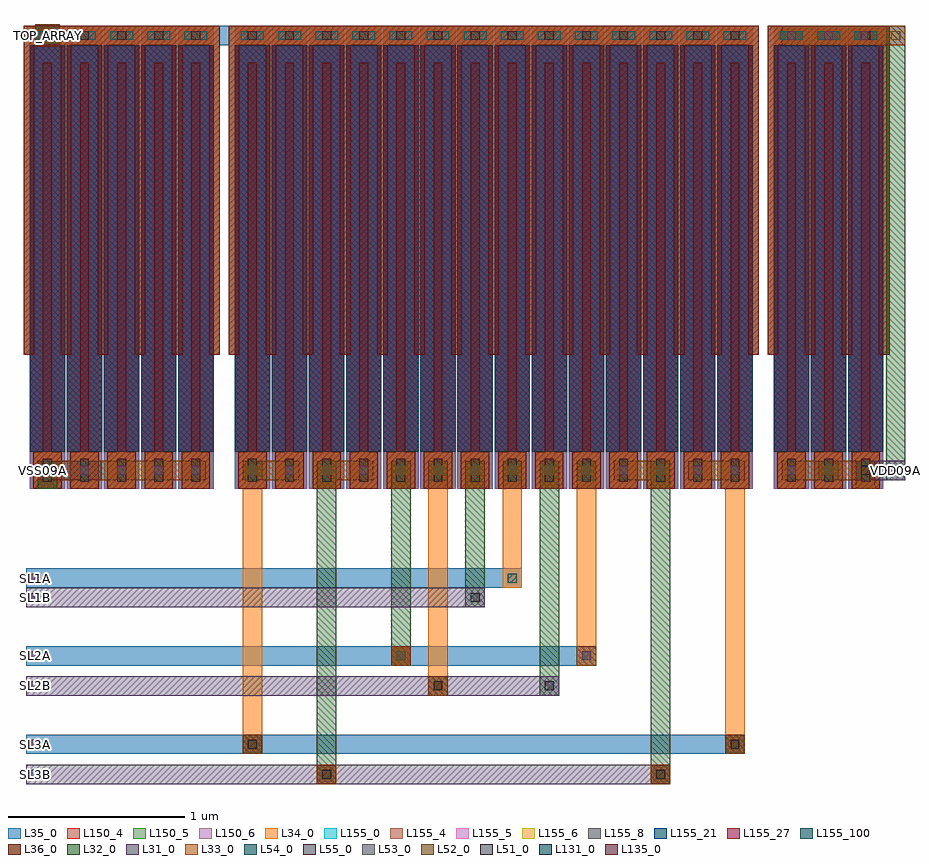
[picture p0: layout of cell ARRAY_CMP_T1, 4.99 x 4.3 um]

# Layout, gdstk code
from math import pi, radians
import gdstk
lib = gdstk.Library(unit=1e-6, precision=1e-09)
def R(c, l, rs):  # rectangles x0, y0, x1, y1
    for r in rs: c.add(gdstk.rectangle(r[:2], r[2:], *l))
def A(c, l, x, y, w, h, nx, ny, dx, dy):  # array of equal rectangles
    R(c, l, [(x+i*dx, y+j*dy, x+i*dx+w, y+j*dy+h) for i in range(nx) for j in range(ny)])
L31_0 = (31, 0)
L32_0 = (32, 0)
L33_0 = (33, 0)
L34_0 = (34, 0)
L35_0 = (35, 0)
L36_0 = (36, 0)
L51_0 = (51, 0)
L52_0 = (52, 0)
L53_0 = (53, 0)
L54_0 = (54, 0)
L55_0 = (55, 0)
L131_0 = (131, 0)
L135_0 = (135, 0)
L150_4 = (150, 4)
L150_5 = (150, 5)
L150_6 = (150, 6)
L155_0 = (155, 0)
L155_4 = (155, 4)
L155_5 = (155, 5)
L155_6 = (155, 6)
L155_8 = (155, 8)
L155_21 = (155, 21)
L155_27 = (155, 27)
L155_100 = (155, 100)

m5_m4_cdns_620100867687 = lib.new_cell('M5_M4_CDNS_620100867687')
R(m5_m4_cdns_620100867687, L34_0, [(-0.07,-0.105,0.07,0.105)])
R(m5_m4_cdns_620100867687, L35_0, [(-0.07,-0.105,0.07,0.105)])
R(m5_m4_cdns_620100867687, L54_0, [(-0.025,-0.065,0.025,0.065)])

m6_m5_cdns_620100867688 = lib.new_cell('M6_M5_CDNS_620100867688')
R(m6_m5_cdns_620100867688, L35_0, [(-0.07,-0.105,0.07,0.105)])
R(m6_m5_cdns_620100867688, L36_0, [(-0.055,-0.105,0.055,0.105)])
R(m6_m5_cdns_620100867688, L55_0, [(-0.025,-0.065,0.025,0.065)])

m5_m4_cdns_620100867689 = lib.new_cell('M5_M4_CDNS_620100867689')
R(m5_m4_cdns_620100867689, L34_0, [(-0.095,-0.055,0.095,0.055)])
R(m5_m4_cdns_620100867689, L35_0, [(-0.12,-0.055,0.12,0.055)])
R(m5_m4_cdns_620100867689, L54_0, [(-0.065,-0.025,0.065,0.025)])

m6_m5_cdns_6201008676810 = lib.new_cell('M6_M5_CDNS_6201008676810')
R(m6_m5_cdns_6201008676810, L35_0, [(-0.055,-0.055,0.055,0.055)])
R(m6_m5_cdns_6201008676810, L36_0, [(-0.055,-0.055,0.055,0.055)])
R(m6_m5_cdns_6201008676810, L55_0, [(-0.025,-0.025,0.025,0.025)])

cu1f = lib.new_cell('CU1F')
R(cu1f, L34_0, [(0.02,0,0.18,0.21), (-0.035,2.51,0.235,2.62)])
R(cu1f, L35_0, [(0.02,0,0.18,0.21), (-0.035,2.51,0.235,2.62)])
R(cu1f, L36_0, [(0.02,0,0.18,0.21), (-0.035,2.51,0.235,2.62)])
R(cu1f, L150_4, [(0,0,0.2,2.62)])
R(cu1f, L150_5, [(0,0,0.2,2.62)])
R(cu1f, L150_6, [(0,0,0.2,2.62)])
R(cu1f, L155_0, [(0,0.21,0.2,2.51)])
R(cu1f, L155_4, [(0,0.21,0.2,2.51)])
R(cu1f, L155_5, [(0,0.21,0.2,2.51)])
R(cu1f, L155_6, [(0,0.21,0.2,2.51)])
R(cu1f, L155_8, [(0,0.21,0.2,2.51)])
R(cu1f, L155_21, [(0,0.21,0.2,2.51)])
R(cu1f, L155_27, [(0,0.21,0.2,2.51)])
R(cu1f, L155_100, [(0,0.21,0.2,2.51)])
cu1f.add(gdstk.FlexPath([(0.205,2.59),(0.205,0.76)], 0.06, ends=(0.03, 0), simple_path=True, layer=34, datatype=0))  # L34_0
cu1f.add(gdstk.FlexPath([(0.1,2.41),(0.1,0)], 0.05, ends="flush", simple_path=True, layer=34, datatype=0))  # L34_0
cu1f.add(gdstk.FlexPath([(-0.005,2.59),(-0.005,0.76)], 0.06, ends=(0.03, 0), simple_path=True, layer=34, datatype=0))  # L34_0
cu1f.add(gdstk.FlexPath([(0.205,0.76),(0.205,2.59)], 0.06, ends=(0, 0.03), simple_path=True, layer=35, datatype=0))  # L35_0
cu1f.add(gdstk.FlexPath([(0.1,2.41),(0.1,0)], 0.05, ends="flush", simple_path=True, layer=35, datatype=0))  # L35_0
cu1f.add(gdstk.FlexPath([(-0.005,0.76),(-0.005,2.59)], 0.06, ends=(0, 0.03), simple_path=True, layer=35, datatype=0))  # L35_0
cu1f.add(gdstk.FlexPath([(0.205,0.76),(0.205,2.59)], 0.06, ends=(0, 0.03), simple_path=True, layer=36, datatype=0))  # L36_0
cu1f.add(gdstk.FlexPath([(0.1,2.41),(0.1,0)], 0.05, ends="flush", simple_path=True, layer=36, datatype=0))  # L36_0
cu1f.add(gdstk.FlexPath([(-0.005,0.76),(-0.005,2.59)], 0.06, ends=(0, 0.03), simple_path=True, layer=36, datatype=0))  # L36_0
cu1f.add(gdstk.Reference(m5_m4_cdns_620100867687, (0.1,0.105), rotation=pi, x_reflection=True))
cu1f.add(gdstk.Reference(m6_m5_cdns_620100867688, (0.1,0.105), rotation=pi, x_reflection=True))
cu1f.add(gdstk.Reference(m5_m4_cdns_620100867689, (0.1,2.565)))
cu1f.add(gdstk.Reference(m6_m5_cdns_6201008676810, (0.1,2.565)))

m2_m1_cdns_620100867680 = lib.new_cell('M2_M1_CDNS_620100867680')
R(m2_m1_cdns_620100867680, L31_0, [(-0.055,-0.055,0.055,0.055)])
R(m2_m1_cdns_620100867680, L32_0, [(-0.055,-0.055,0.055,0.055)])
R(m2_m1_cdns_620100867680, L51_0, [(-0.025,-0.025,0.025,0.025)])

m3_m2_cdns_620100867681 = lib.new_cell('M3_M2_CDNS_620100867681')
R(m3_m2_cdns_620100867681, L32_0, [(-0.055,-0.055,0.055,0.055)])
R(m3_m2_cdns_620100867681, L33_0, [(-0.055,-0.055,0.055,0.055)])
R(m3_m2_cdns_620100867681, L52_0, [(-0.025,-0.025,0.025,0.025)])

m4_m3_cdns_620100867682 = lib.new_cell('M4_M3_CDNS_620100867682')
R(m4_m3_cdns_620100867682, L33_0, [(-0.055,-0.055,0.055,0.055)])
R(m4_m3_cdns_620100867682, L34_0, [(-0.055,-0.055,0.055,0.055)])
R(m4_m3_cdns_620100867682, L53_0, [(-0.025,-0.025,0.025,0.025)])

m4_m3_cdns_620100867683 = lib.new_cell('M4_M3_CDNS_620100867683')
R(m4_m3_cdns_620100867683, L33_0, [(-0.07,-0.065,0.07,0.065)])
R(m4_m3_cdns_620100867683, L34_0, [(-0.055,-0.055,0.055,0.055)])
R(m4_m3_cdns_620100867683, L53_0, [(-0.025,-0.025,0.025,0.025)])

m3_m2_cdns_620100867684 = lib.new_cell('M3_M2_CDNS_620100867684')
R(m3_m2_cdns_620100867684, L32_0, [(-0.065,-0.06,0.065,0.06)])
R(m3_m2_cdns_620100867684, L33_0, [(-0.07,-0.065,0.07,0.065)])
R(m3_m2_cdns_620100867684, L52_0, [(-0.025,-0.025,0.025,0.025)])

m2_m1_cdns_620100867685 = lib.new_cell('M2_M1_CDNS_620100867685')
R(m2_m1_cdns_620100867685, L31_0, [(-0.055,-0.055,0.055,0.055)])
R(m2_m1_cdns_620100867685, L32_0, [(-0.065,-0.06,0.065,0.06)])
R(m2_m1_cdns_620100867685, L51_0, [(-0.025,-0.025,0.025,0.025)])

m5_m4_cdns_620100867686 = lib.new_cell('M5_M4_CDNS_620100867686')
R(m5_m4_cdns_620100867686, L34_0, [(-0.055,-0.055,0.055,0.055)])
R(m5_m4_cdns_620100867686, L35_0, [(-0.055,-0.055,0.055,0.055)])
R(m5_m4_cdns_620100867686, L54_0, [(-0.025,-0.025,0.025,0.025)])

array_cmp_t1 = lib.new_cell('ARRAY_CMP_T1')
R(array_cmp_t1, L31_0, [(-0.23,-1.67,3.415,-1.56), (-0.23,-1.17,2.785,-1.06), (-0.23,-0.67,2.365,-0.56), (-0.165,0.05,0.195,0.16), (4.465,0.05,4.745,0.16), (-0.18,2.5,-0.04,2.63)])
R(array_cmp_t1, L32_0, [(1.415,-1.67,1.525,0.16), (3.305,-1.67,3.415,0.16), (2.675,-1.17,2.785,0.16), (1.835,-1,1.945,0.16), (2.255,-0.67,2.365,0.16), (-0.165,0,-0.055,0.16), (4.465,0.05,4.575,0.16), (4.635,0.05,4.745,2.62)])
A(array_cmp_t1, L33_0, 1.835, 0, 0.11, 0.16, 6, 1, 0.21, 0)
R(array_cmp_t1, L33_0, [(1.415,0,1.525,0.16), (3.305,0,3.415,0.16), (4.465,0,4.575,0.16), (-0.165,0.05,0.785,0.16), (0.995,0.05,1.315,0.16), (1.415,0.05,1.735,0.16), (3.095,0.05,3.415,0.16), (3.515,0.05,3.835,0.16), (4.045,0.05,4.575,0.16), (4.045,2.51,4.745,2.62)])
R(array_cmp_t1, L34_0, [(0.995,-1.5,1.105,0.16), (3.725,-1.5,3.835,0.16), (2.045,-1.17,2.155,0.16), (2.885,-1,2.995,0.16), (2.465,-0.56,2.575,0.16)])
R(array_cmp_t1, L35_0, [(-0.23,-1.5,3.835,-1.39), (-0.23,-1,2.995,-0.89), (-0.23,-0.56,2.575,-0.45), (-0.18,2.51,1.125,2.62)])
A(array_cmp_t1, L131_0, -0.2, -1.64, 0.05, 0.05, 1, 3, 0, 0.5)
R(array_cmp_t1, L131_0, [(-0.165,0.08,-0.115,0.13), (4.665,0.08,4.715,0.13), (-0.135,2.54,-0.085,2.59)])
R(array_cmp_t1, L135_0, [(-0.2,-1.47,-0.15,-1.42), (-0.2,-0.97,-0.15,-0.92), (-0.2,-0.53,-0.15,-0.48)])
array_cmp_t1.add(gdstk.Reference(cu1f, (4,0)))
array_cmp_t1.add(gdstk.Reference(cu1f, (4.21,0)))
array_cmp_t1.add(gdstk.Reference(cu1f, (0.42,0)))
array_cmp_t1.add(gdstk.Reference(cu1f, (0.63,0)))
array_cmp_t1.add(gdstk.Reference(cu1f, (4.42,0)))
array_cmp_t1.add(gdstk.Reference(cu1f, (0.21,0)))
array_cmp_t1.add(gdstk.Reference(cu1f, (0,0)))
array_cmp_t1.add(gdstk.Reference(cu1f, (-0.21,0)))
array_cmp_t1.add(gdstk.Reference(cu1f, (3.68,0)))
array_cmp_t1.add(gdstk.Reference(cu1f, (3.47,0)))
array_cmp_t1.add(gdstk.Reference(cu1f, (3.26,0)))
array_cmp_t1.add(gdstk.Reference(cu1f, (3.05,0)))
array_cmp_t1.add(gdstk.Reference(cu1f, (2.84,0)))
array_cmp_t1.add(gdstk.Reference(cu1f, (2.63,0)))
array_cmp_t1.add(gdstk.Reference(cu1f, (2.42,0)))
array_cmp_t1.add(gdstk.Reference(cu1f, (2.21,0)))
array_cmp_t1.add(gdstk.Reference(cu1f, (2,0)))
array_cmp_t1.add(gdstk.Reference(cu1f, (1.79,0)))
array_cmp_t1.add(gdstk.Reference(cu1f, (1.58,0)))
array_cmp_t1.add(gdstk.Reference(cu1f, (1.37,0)))
array_cmp_t1.add(gdstk.Reference(cu1f, (1.16,0)))
array_cmp_t1.add(gdstk.Reference(cu1f, (0.95,0)))
array_cmp_t1.add(gdstk.Reference(m2_m1_cdns_620100867680, (3.36,-1.615)))
array_cmp_t1.add(gdstk.Reference(m2_m1_cdns_620100867680, (1.05,-1.445)))
array_cmp_t1.add(gdstk.Reference(m2_m1_cdns_620100867680, (4.69,0.105)))
array_cmp_t1.add(gdstk.Reference(m2_m1_cdns_620100867680, (-0.11,0.105)))
array_cmp_t1.add(gdstk.Reference(m2_m1_cdns_620100867680, (1.47,-1.615)))
array_cmp_t1.add(gdstk.Reference(m2_m1_cdns_620100867680, (4.52,0.105)))
array_cmp_t1.add(gdstk.Reference(m2_m1_cdns_620100867680, (2.31,-0.615)))
array_cmp_t1.add(gdstk.Reference(m2_m1_cdns_620100867680, (2.1,-1.115)))
array_cmp_t1.add(gdstk.Reference(m2_m1_cdns_620100867680, (2.73,-1.115)))
array_cmp_t1.add(gdstk.Reference(m2_m1_cdns_620100867680, (3.78,-1.445)))
array_cmp_t1.add(gdstk.Reference(m3_m2_cdns_620100867681, (1.89,-0.945)))
array_cmp_t1.add(gdstk.Reference(m3_m2_cdns_620100867681, (1.05,-1.445)))
array_cmp_t1.add(gdstk.Reference(m3_m2_cdns_620100867681, (3.36,-1.615)))
array_cmp_t1.add(gdstk.Reference(m3_m2_cdns_620100867681, (4.69,2.565)))
array_cmp_t1.add(gdstk.Reference(m3_m2_cdns_620100867681, (1.05,0.105)))
array_cmp_t1.add(gdstk.Reference(m3_m2_cdns_620100867681, (1.47,0.105)))
array_cmp_t1.add(gdstk.Reference(m3_m2_cdns_620100867681, (1.89,0.105)))
array_cmp_t1.add(gdstk.Reference(m3_m2_cdns_620100867681, (2.1,0.105)))
array_cmp_t1.add(gdstk.Reference(m3_m2_cdns_620100867681, (2.31,0.105)))
array_cmp_t1.add(gdstk.Reference(m3_m2_cdns_620100867681, (2.52,0.105)))
array_cmp_t1.add(gdstk.Reference(m3_m2_cdns_620100867681, (2.73,0.105)))
array_cmp_t1.add(gdstk.Reference(m3_m2_cdns_620100867681, (2.94,0.105)))
array_cmp_t1.add(gdstk.Reference(m3_m2_cdns_620100867681, (3.36,0.105)))
array_cmp_t1.add(gdstk.Reference(m3_m2_cdns_620100867681, (4.52,0.105)))
array_cmp_t1.add(gdstk.Reference(m3_m2_cdns_620100867681, (-0.11,0.105)))
array_cmp_t1.add(gdstk.Reference(m3_m2_cdns_620100867681, (4.31,0.105)))
array_cmp_t1.add(gdstk.Reference(m3_m2_cdns_620100867681, (1.47,-1.615)))
array_cmp_t1.add(gdstk.Reference(m3_m2_cdns_620100867681, (2.1,-1.115)))
array_cmp_t1.add(gdstk.Reference(m3_m2_cdns_620100867681, (3.78,-1.445)))
array_cmp_t1.add(gdstk.Reference(m4_m3_cdns_620100867682, (3.36,-1.615)))
array_cmp_t1.add(gdstk.Reference(m4_m3_cdns_620100867682, (1.68,0.105)))
array_cmp_t1.add(gdstk.Reference(m4_m3_cdns_620100867682, (1.05,-1.445)))
array_cmp_t1.add(gdstk.Reference(m4_m3_cdns_620100867682, (4.51,2.565), rotation=pi, x_reflection=True))
array_cmp_t1.add(gdstk.Reference(m4_m3_cdns_620100867682, (4.1,2.565), rotation=pi, x_reflection=True))
array_cmp_t1.add(gdstk.Reference(m4_m3_cdns_620100867682, (1.05,0.105)))
array_cmp_t1.add(gdstk.Reference(m4_m3_cdns_620100867682, (1.26,0.105)))
array_cmp_t1.add(gdstk.Reference(m4_m3_cdns_620100867682, (1.47,0.105)))
array_cmp_t1.add(gdstk.Reference(m4_m3_cdns_620100867682, (1.89,0.105)))
array_cmp_t1.add(gdstk.Reference(m4_m3_cdns_620100867682, (2.1,0.105)))
array_cmp_t1.add(gdstk.Reference(m4_m3_cdns_620100867682, (2.31,0.105)))
array_cmp_t1.add(gdstk.Reference(m4_m3_cdns_620100867682, (2.52,0.105)))
array_cmp_t1.add(gdstk.Reference(m4_m3_cdns_620100867682, (2.73,0.105)))
array_cmp_t1.add(gdstk.Reference(m4_m3_cdns_620100867682, (2.94,0.105)))
array_cmp_t1.add(gdstk.Reference(m4_m3_cdns_620100867682, (3.15,0.105)))
array_cmp_t1.add(gdstk.Reference(m4_m3_cdns_620100867682, (3.36,0.105)))
array_cmp_t1.add(gdstk.Reference(m4_m3_cdns_620100867682, (3.57,0.105)))
array_cmp_t1.add(gdstk.Reference(m4_m3_cdns_620100867682, (3.78,0.105)))
array_cmp_t1.add(gdstk.Reference(m4_m3_cdns_620100867682, (4.52,0.105)))
array_cmp_t1.add(gdstk.Reference(m4_m3_cdns_620100867682, (1.47,-1.615)))
array_cmp_t1.add(gdstk.Reference(m4_m3_cdns_620100867682, (0.1,0.105)))
array_cmp_t1.add(gdstk.Reference(m4_m3_cdns_620100867682, (0.31,0.105)))
array_cmp_t1.add(gdstk.Reference(m4_m3_cdns_620100867682, (-0.11,0.105)))
array_cmp_t1.add(gdstk.Reference(m4_m3_cdns_620100867682, (0.73,0.105)))
array_cmp_t1.add(gdstk.Reference(m4_m3_cdns_620100867682, (0.52,0.105)))
array_cmp_t1.add(gdstk.Reference(m4_m3_cdns_620100867682, (4.1,0.105)))
array_cmp_t1.add(gdstk.Reference(m4_m3_cdns_620100867682, (4.31,0.105)))
array_cmp_t1.add(gdstk.Reference(m4_m3_cdns_620100867682, (4.31,2.565), rotation=pi, x_reflection=True))
array_cmp_t1.add(gdstk.Reference(m4_m3_cdns_620100867682, (3.78,-1.445)))
array_cmp_t1.add(gdstk.Reference(m4_m3_cdns_620100867682, (1.89,-0.945)))
array_cmp_t1.add(gdstk.Reference(m4_m3_cdns_620100867682, (2.94,-0.945)))
array_cmp_t1.add(gdstk.Reference(m4_m3_cdns_620100867682, (2.1,-1.115)))
array_cmp_t1.add(gdstk.Reference(m4_m3_cdns_620100867683, (-0.11,2.565)))
array_cmp_t1.add(gdstk.Reference(m3_m2_cdns_620100867684, (-0.11,2.565)))
array_cmp_t1.add(gdstk.Reference(m2_m1_cdns_620100867685, (-0.11,2.565)))
array_cmp_t1.add(gdstk.Reference(m5_m4_cdns_620100867686, (1.89,-0.945)))
array_cmp_t1.add(gdstk.Reference(m5_m4_cdns_620100867686, (2.94,-0.945)))
array_cmp_t1.add(gdstk.Reference(m5_m4_cdns_620100867686, (2.52,-0.505)))
array_cmp_t1.add(gdstk.Reference(m5_m4_cdns_620100867686, (3.78,-1.445)))
array_cmp_t1.add(gdstk.Reference(m5_m4_cdns_620100867686, (1.47,-1.615)))
array_cmp_t1.add(gdstk.Reference(m5_m4_cdns_620100867686, (3.36,-1.615)))
array_cmp_t1.add(gdstk.Reference(m5_m4_cdns_620100867686, (1.05,-1.445)))
array_cmp_t1.add(gdstk.Label('SL3A', (-0.175,-1.445), layer=135, texttype=0))
array_cmp_t1.add(gdstk.Label('SL2A', (-0.175,-0.945), layer=135, texttype=0))
array_cmp_t1.add(gdstk.Label('SL1A', (-0.175,-0.505), layer=135, texttype=0))
array_cmp_t1.add(gdstk.Label('VDD09A', (4.69,0.105), layer=131, texttype=0))
array_cmp_t1.add(gdstk.Label('SL1B', (-0.175,-0.615), layer=131, texttype=0))
array_cmp_t1.add(gdstk.Label('VSS09A', (-0.14,0.105), layer=131, texttype=0))
array_cmp_t1.add(gdstk.Label('SL2B', (-0.175,-1.115), layer=131, texttype=0))
array_cmp_t1.add(gdstk.Label('TOP_ARRAY', (-0.112,2.565), layer=131, texttype=0))
array_cmp_t1.add(gdstk.Label('SL3B', (-0.175,-1.615), layer=131, texttype=0))

lib.write_gds('ARRAY_CMP_T1.gds')
